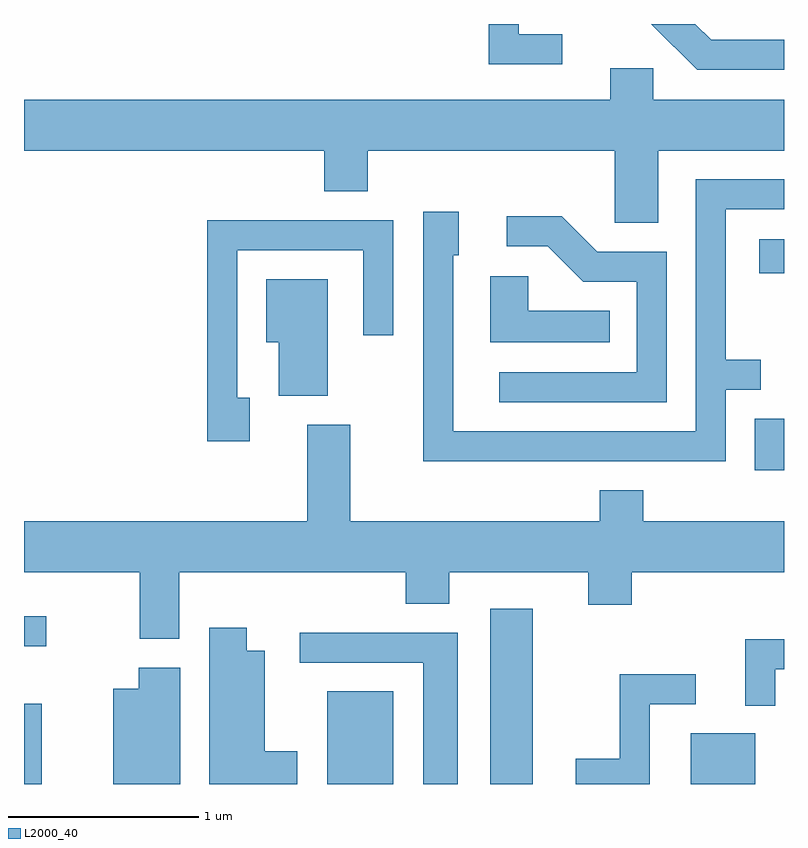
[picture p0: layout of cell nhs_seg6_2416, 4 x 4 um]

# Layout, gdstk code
import gdstk
lib = gdstk.Library(unit=1e-6, precision=1e-09)
def R(c, l, rs):  # rectangles x0, y0, x1, y1
    for r in rs: c.add(gdstk.rectangle(r[:2], r[2:], *l))
def P(c, l, *ps):  # polygons
    for p in ps: c.add(gdstk.Polygon(p, *l))
L2000_40 = (2000, 40)

nhs_seg6_2416 = lib.new_cell('nhs_seg6_2416')
R(nhs_seg6_2416, L2000_40, [(257.611,1642.162,257.704,1642.584), (259.206,1642.162,259.554,1642.649), (260.066,1642.162,260.289,1643.084), (261.121,1642.162,261.459,1642.429), (257.611,1642.886,257.728,1643.044), (261.456,1643.813,261.611,1644.084), (261.481,1644.851,261.611,1645.029)])
P(nhs_seg6_2416, L2000_40, [(261.611,1646.079),(261.227,1646.079),(261.144,1646.162),(260.913,1646.162),(261.154,1645.921),(261.611,1645.921)],
  [(260.443,1646.109),(260.214,1646.109),(260.214,1646.162),(260.056,1646.162),(260.056,1645.951),(260.443,1645.951)],
  [(260.949,1645.496),(261.611,1645.496),(261.611,1645.764),(260.924,1645.764),(260.924,1645.929),(260.696,1645.929),(260.696,1645.764),(257.611,1645.764),(257.611,1645.496),(259.191,1645.496),(259.191,1645.281),(259.419,1645.281),(259.419,1645.496),(260.721,1645.496),(260.721,1645.116),(260.949,1645.116)],
  [(261.304,1644.236),(261.488,1644.236),(261.488,1644.394),(261.304,1644.394),(261.304,1645.186),(261.611,1645.186),(261.611,1645.344),(261.146,1645.344),(261.146,1644.019),(259.869,1644.019),(259.869,1644.946),(259.899,1644.946),(259.899,1645.174),(259.711,1645.174),(259.711,1643.861),(261.304,1643.861)],
  [(260.994,1644.964),(260.627,1644.964),(260.442,1645.149),(260.153,1645.149),(260.153,1644.991),(260.368,1644.991),(260.554,1644.806),(260.836,1644.806),(260.836,1644.329),(260.113,1644.329),(260.113,1644.171),(260.994,1644.171)],
  [(258.799,1644.194),(258.734,1644.194),(258.734,1644.971),(259.396,1644.971),(259.396,1644.523),(259.554,1644.523),(259.554,1645.129),(258.576,1645.129),(258.576,1643.966),(258.799,1643.966)],
  [(260.693,1644.654),(260.264,1644.654),(260.264,1644.834),(260.066,1644.834),(260.066,1644.486),(260.693,1644.486)],
  [(259.209,1644.819),(258.886,1644.819),(258.886,1644.486),(258.951,1644.486),(258.951,1644.206),(259.209,1644.206)],
  [(258.429,1643.276),(259.621,1643.276),(259.621,1643.111),(259.849,1643.111),(259.849,1643.276),(260.581,1643.276),(260.581,1643.106),(260.809,1643.106),(260.809,1643.276),(261.611,1643.276),(261.611,1643.544),(260.869,1643.544),(260.869,1643.709),(260.641,1643.709),(260.641,1643.544),(259.329,1643.544),(259.329,1644.054),(259.101,1644.054),(259.101,1643.544),(257.611,1643.544),(257.611,1643.276),(258.221,1643.276),(258.221,1642.926),(258.429,1642.926)],
  [(259.049,1642.334),(258.879,1642.334),(258.879,1642.864),(258.784,1642.864),(258.784,1642.984),(258.586,1642.984),(258.586,1642.162),(259.049,1642.162)],
  [(259.894,1642.959),(259.063,1642.959),(259.063,1642.801),(259.711,1642.801),(259.711,1642.162),(259.894,1642.162)],
  [(261.564,1642.766),(261.611,1642.766),(261.611,1642.924),(261.406,1642.924),(261.406,1642.573),(261.564,1642.573)],
  [(258.434,1642.774),(258.216,1642.774),(258.216,1642.664),(258.081,1642.664),(258.081,1642.162),(258.434,1642.162)],
  [(260.904,1642.581),(261.147,1642.581),(261.147,1642.739),(260.746,1642.739),(260.746,1642.294),(260.516,1642.294),(260.516,1642.162),(260.904,1642.162)])

lib.write_gds('nhs_seg6_2416.gds')
